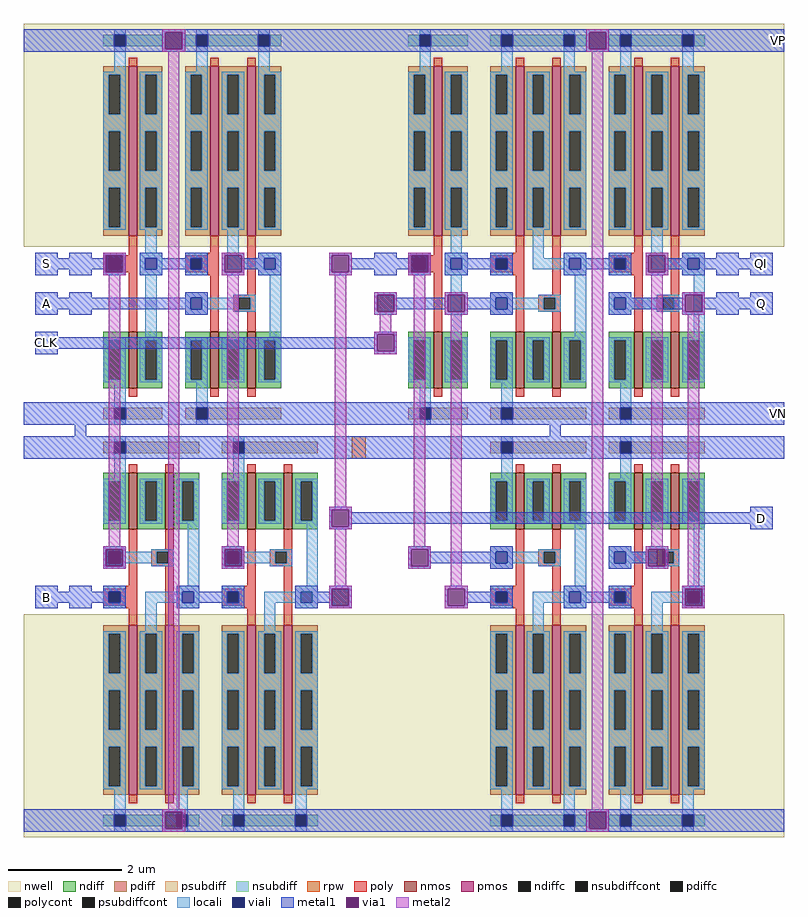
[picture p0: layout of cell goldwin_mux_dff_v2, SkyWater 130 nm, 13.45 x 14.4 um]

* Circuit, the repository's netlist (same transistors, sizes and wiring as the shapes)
* NGSPICE file created from goldwin_mux_dff_v2.ext - technology: sky130A

.subckt goldwin_nand_v2 A B Y VP VN
X0 Y B a_30_0# VN sky130_fd_pr__nfet_01v8 ad=0.45 pd=2.9 as=0.25 ps=1.5 w=1 l=0.15
X1 a_30_0# A VN VN sky130_fd_pr__nfet_01v8 ad=0.25 pd=1.5 as=0.45 ps=2.9 w=1 l=0.15
X2 Y A VP VP sky130_fd_pr__pfet_01v8 ad=0.75 pd=3.5 as=1.35 ps=6.9 w=3 l=0.15
X3 VP B Y VP sky130_fd_pr__pfet_01v8 ad=1.35 pd=6.9 as=0.75 ps=3.5 w=3 l=0.15
.ends

.subckt goldwin_not_v2 A Y VP VN
X0 Y A VN VN sky130_fd_pr__nfet_01v8 ad=0.45 pd=2.9 as=0.45 ps=2.9 w=1 l=0.15
X1 Y A VP VP sky130_fd_pr__pfet_01v8 ad=1.35 pd=6.9 as=1.35 ps=6.9 w=3 l=0.15
.ends

.subckt goldwin_mux_v2 A B S D VP VN
Xgoldwin_nand_v2_0 goldwin_nand_v2_3/Y goldwin_nand_v2_1/Y D VP VN goldwin_nand_v2
Xgoldwin_nand_v2_1 goldwin_not_v2_0/Y A goldwin_nand_v2_1/Y VP VN goldwin_nand_v2
Xgoldwin_nand_v2_3 B S goldwin_nand_v2_3/Y VP VN goldwin_nand_v2
Xgoldwin_not_v2_0 S goldwin_not_v2_0/Y VP VN goldwin_not_v2
.ends

.subckt goldwin_dff_v2 D CLK Q QI VP VN
Xgoldwin_nand_v2_0 goldwin_nand_v2_1/Y QI Q VP VN goldwin_nand_v2
Xgoldwin_nand_v2_1 CLK D goldwin_nand_v2_1/Y VP VN goldwin_nand_v2
Xgoldwin_nand_v2_2 goldwin_nand_v2_3/Y Q QI VP VN goldwin_nand_v2
Xgoldwin_nand_v2_3 goldwin_not_v2_0/Y CLK goldwin_nand_v2_3/Y VP VN goldwin_nand_v2
Xgoldwin_not_v2_0 D goldwin_not_v2_0/Y VP VN goldwin_not_v2
.ends

.subckt goldwin_mux_dff_v2 CLK A B S D Q QI VP VN
Xgoldwin_mux_v2_0 A B S D VP VN goldwin_mux_v2
Xgoldwin_dff_v2_0 D CLK Q QI VP VN goldwin_dff_v2
.ends

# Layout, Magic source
magic
tech sky130A
<< nwell >>
rect -60 1045 0 1440
rect 1225 1045 1285 1440
rect -60 0 0 395
rect 1225 0 1285 395
<< metal1 >>
rect -60 1390 0 1430
rect 1225 1390 1285 1430
rect -40 1025 0 1035
rect 480 1030 520 1035
rect -40 1005 20 1025
rect -40 995 0 1005
rect 480 1000 485 1030
rect 515 1025 520 1030
rect 1225 1025 1265 1035
rect 515 1005 560 1025
rect 1205 1005 1265 1025
rect 515 1000 520 1005
rect 480 995 520 1000
rect 1225 995 1265 1005
rect -40 955 0 965
rect -40 935 20 955
rect -40 925 0 935
rect 1225 955 1265 965
rect 1205 935 1265 955
rect 1225 925 1265 935
rect -40 885 0 895
rect 560 890 600 895
rect 560 885 565 890
rect -40 865 565 885
rect -40 855 0 865
rect 560 860 565 865
rect 595 860 600 890
rect 560 855 600 860
rect -60 730 0 770
rect 1225 730 1285 770
rect -60 670 0 710
rect 1225 670 1285 710
rect 480 580 520 585
rect 480 550 485 580
rect 515 575 520 580
rect 1225 575 1265 585
rect 515 555 1265 575
rect 515 550 520 555
rect 480 545 520 550
rect 1225 545 1265 555
rect -40 435 0 445
rect 480 440 520 445
rect -40 415 20 435
rect -40 405 0 415
rect 480 410 485 440
rect 515 410 520 440
rect 480 405 520 410
rect -60 10 0 50
rect 1225 10 1285 50
<< via1 >>
rect 485 1000 515 1030
rect 565 930 595 960
rect 565 860 595 890
rect 485 550 515 580
rect 485 410 515 440
<< metal2 >>
rect 480 1030 520 1035
rect 480 1000 485 1030
rect 515 1000 520 1030
rect 480 995 520 1000
rect 490 585 510 995
rect 560 960 600 965
rect 560 930 565 960
rect 595 930 600 960
rect 560 925 600 930
rect 570 895 590 925
rect 560 890 600 895
rect 560 860 565 890
rect 595 860 600 890
rect 560 855 600 860
rect 480 580 520 585
rect 480 550 485 580
rect 515 550 520 580
rect 480 545 520 550
rect 490 445 510 545
rect 480 440 520 445
rect 480 410 485 440
rect 515 410 520 440
rect 480 405 520 410
use goldwin_dff_v2  goldwin_dff_v2_0 ../goldwin_dff_v2
transform 1 0 600 0 1 735
box -60 -735 625 705
use goldwin_mux_v2  goldwin_mux_v2_0 ../goldwin_mux_v2
transform 1 0 60 0 1 730
box -60 -730 485 710
<< labels >>
flabel metal1 -40 995 0 1035 1 FreeSans 200 0 0 0 S
port 4 n
flabel metal1 -40 925 0 965 1 FreeSans 200 0 0 0 A
port 2 n
flabel metal1 -40 855 0 895 1 FreeSans 200 0 0 0 CLK
port 1 n
flabel metal1 -40 405 0 445 1 FreeSans 200 0 0 0 B
port 3 n
flabel metal1 1225 925 1265 965 1 FreeSans 200 0 0 0 Q
port 6 n
flabel metal1 1265 1390 1285 1430 1 FreeSans 200 0 0 0 VP
port 8 n
flabel metal1 1265 730 1285 770 1 FreeSans 200 0 0 0 VN
port 9 n
flabel metal1 1225 995 1265 1035 1 FreeSans 200 0 0 0 QI
port 7 n
flabel metal1 1225 545 1265 585 1 FreeSans 200 0 0 0 D
port 5 n
<< end >>

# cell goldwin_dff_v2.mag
magic
tech sky130A
<< nwell >>
rect -60 310 0 705
rect 565 310 625 705
rect -60 -735 145 -340
rect 565 -735 625 -340
<< metal1 >>
rect -60 655 0 695
rect 565 655 625 695
rect -40 290 0 300
rect 440 295 480 300
rect -40 270 20 290
rect -40 260 0 270
rect 125 270 165 290
rect 335 270 375 290
rect 440 265 445 295
rect 475 290 480 295
rect 565 290 605 300
rect 475 270 505 290
rect 545 270 605 290
rect 475 265 480 270
rect 440 260 480 265
rect 565 260 605 270
rect -40 220 0 230
rect 85 225 125 230
rect 85 220 90 225
rect -40 200 90 220
rect -40 190 0 200
rect 85 195 90 200
rect 120 220 125 225
rect 505 225 545 230
rect 505 220 510 225
rect 120 200 165 220
rect 415 200 510 220
rect 120 195 125 200
rect 85 190 125 195
rect 505 195 510 200
rect 540 220 545 225
rect 565 220 605 230
rect 540 200 605 220
rect 540 195 545 200
rect 505 190 545 195
rect 565 190 605 200
rect -60 -5 0 35
rect 270 -25 290 0
rect 565 -5 625 35
rect -60 -65 145 -25
rect 565 -65 625 -25
rect 20 -225 60 -220
rect 20 -255 25 -225
rect 55 -230 60 -225
rect 440 -225 480 -220
rect 440 -230 445 -225
rect 55 -250 165 -230
rect 415 -250 445 -230
rect 55 -255 60 -250
rect 20 -260 60 -255
rect 440 -255 445 -250
rect 475 -255 480 -225
rect 440 -260 480 -255
rect 85 -295 125 -290
rect 85 -325 90 -295
rect 120 -300 125 -295
rect 120 -320 165 -300
rect 335 -320 375 -300
rect 120 -325 125 -320
rect 85 -330 125 -325
rect -60 -725 145 -685
rect 565 -725 625 -685
<< via1 >>
rect 340 660 370 690
rect 25 265 55 295
rect 445 265 475 295
rect 90 195 120 225
rect 510 195 540 225
rect 25 -255 55 -225
rect 445 -255 475 -225
rect 90 -325 120 -295
rect 510 -325 540 -295
rect 340 -720 370 -690
<< metal2 >>
rect 335 690 375 695
rect 335 660 340 690
rect 370 660 375 690
rect 335 655 375 660
rect 20 295 60 300
rect 20 265 25 295
rect 55 265 60 295
rect 20 260 60 265
rect 30 -220 50 260
rect 85 225 125 230
rect 85 195 90 225
rect 120 195 125 225
rect 85 190 125 195
rect 20 -225 60 -220
rect 20 -255 25 -225
rect 55 -255 60 -225
rect 20 -260 60 -255
rect 95 -290 115 190
rect 85 -295 125 -290
rect 85 -325 90 -295
rect 120 -325 125 -295
rect 85 -330 125 -325
rect 345 -685 365 655
rect 440 295 480 300
rect 440 265 445 295
rect 475 265 480 295
rect 440 260 480 265
rect 450 -220 470 260
rect 505 225 545 230
rect 505 195 510 225
rect 540 195 545 225
rect 505 190 545 195
rect 440 -225 480 -220
rect 440 -255 445 -225
rect 475 -255 480 -225
rect 440 -260 480 -255
rect 515 -290 535 190
rect 505 -295 545 -290
rect 505 -325 510 -295
rect 540 -325 545 -295
rect 505 -330 545 -325
rect 335 -690 375 -685
rect 335 -720 340 -690
rect 370 -720 375 -690
rect 335 -725 375 -720
use goldwin_nand_v2  goldwin_nand_v2_0 ../goldwin_nand_v2
transform 1 0 420 0 -1 -90
box -65 -65 145 645
use goldwin_nand_v2  goldwin_nand_v2_1
transform 1 0 210 0 -1 -90
box -65 -65 145 645
use goldwin_nand_v2  goldwin_nand_v2_2
transform 1 0 420 0 1 60
box -65 -65 145 645
use goldwin_nand_v2  goldwin_nand_v2_3
transform 1 0 210 0 1 60
box -65 -65 145 645
use goldwin_not_v2  goldwin_not_v2_0 ../goldwin_not_v2
transform 1 0 65 0 1 60
box -65 -65 80 645
<< labels >>
flabel metal1 -40 260 0 300 1 FreeSans 200 0 0 0 D
port 1 n
flabel metal1 -40 190 0 230 1 FreeSans 200 0 0 0 CLK
port 2 n
flabel metal1 565 260 605 300 1 FreeSans 200 0 0 0 QI
port 4 n
flabel metal1 565 190 605 230 1 FreeSans 200 0 0 0 Q
port 3 n
flabel metal1 605 655 625 695 1 FreeSans 200 0 0 0 VP
port 5 n
flabel metal1 605 -5 625 35 1 FreeSans 200 0 0 0 VN
port 6 n
<< end >>

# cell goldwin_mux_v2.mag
magic
tech sky130A
<< nwell >>
rect -60 315 0 710
rect 355 315 485 710
rect -60 -730 0 -335
rect 420 -730 480 -335
<< rpw >>
rect 460 -60 485 -20
<< metal1 >>
rect -60 660 0 700
rect 355 660 485 700
rect -40 295 0 305
rect 230 300 270 305
rect -40 275 20 295
rect -40 265 0 275
rect 125 275 165 295
rect 230 270 235 300
rect 265 295 270 300
rect 265 275 295 295
rect 265 270 270 275
rect 230 265 270 270
rect -40 225 0 235
rect -40 205 165 225
rect -40 195 0 205
rect -60 0 0 40
rect 355 0 485 40
rect -30 -20 -10 0
rect -60 -60 0 -20
rect 420 -60 485 -20
rect -40 -295 0 -285
rect -40 -315 20 -295
rect 190 -315 230 -295
rect -40 -325 0 -315
rect 365 -320 395 -290
rect 420 -295 460 -285
rect 400 -315 460 -295
rect 420 -325 460 -315
rect -60 -720 0 -680
rect 420 -720 480 -680
<< via1 >>
rect 130 665 160 695
rect 25 270 55 300
rect 235 270 265 300
rect 25 -250 55 -220
rect 235 -250 265 -220
rect 130 -715 160 -685
<< metal2 >>
rect 125 695 165 700
rect 125 665 130 695
rect 160 665 165 695
rect 125 660 165 665
rect 20 300 60 305
rect 20 270 25 300
rect 55 270 60 300
rect 20 265 60 270
rect 30 -215 50 265
rect 20 -220 60 -215
rect 20 -250 25 -220
rect 55 -250 60 -220
rect 20 -255 60 -250
rect 135 -680 155 660
rect 230 300 270 305
rect 230 270 235 300
rect 265 270 270 300
rect 230 265 270 270
rect 240 -215 260 265
rect 230 -220 270 -215
rect 230 -250 235 -220
rect 265 -250 270 -220
rect 230 -255 270 -250
rect 125 -685 165 -680
rect 125 -715 130 -685
rect 160 -715 165 -685
rect 125 -720 165 -715
use goldwin_nand_v2  goldwin_nand_v2_0 ../goldwin_nand_v2
transform 1 0 275 0 -1 -85
box -65 -65 145 645
use goldwin_nand_v2  goldwin_nand_v2_1
transform 1 0 210 0 1 65
box -65 -65 145 645
use goldwin_nand_v2  goldwin_nand_v2_3
transform 1 0 65 0 -1 -85
box -65 -65 145 645
use goldwin_not_v2  goldwin_not_v2_0 ../goldwin_not_v2
transform 1 0 65 0 1 65
box -65 -65 80 645
<< labels >>
flabel metal1 -40 195 0 235 1 FreeSans 200 0 0 0 A
port 1 n
flabel metal1 -40 265 0 305 1 FreeSans 200 0 0 0 S
port 3 n
flabel metal1 -40 -325 0 -285 1 FreeSans 200 0 0 0 B
port 2 n
flabel metal1 420 -325 460 -285 1 FreeSans 200 0 0 0 D
port 4 n
flabel metal1 465 0 485 40 1 FreeSans 200 0 0 0 VN
port 6 n
flabel metal1 465 660 485 700 1 FreeSans 200 0 0 0 VP
port 5 n
<< end >>

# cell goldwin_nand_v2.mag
magic
tech sky130A
<< nwell >>
rect -65 250 145 645
<< nmos >>
rect 0 0 15 100
rect 65 0 80 100
<< pmos >>
rect 0 270 15 570
rect 65 270 80 570
<< ndiff >>
rect -45 85 0 100
rect -45 15 -35 85
rect -15 15 0 85
rect -45 0 0 15
rect 15 85 65 100
rect 15 15 30 85
rect 50 15 65 85
rect 15 0 65 15
rect 80 85 125 100
rect 80 15 95 85
rect 115 15 125 85
rect 80 0 125 15
<< pdiff >>
rect -45 555 0 570
rect -45 485 -35 555
rect -15 485 0 555
rect -45 455 0 485
rect -45 385 -35 455
rect -15 385 0 455
rect -45 355 0 385
rect -45 285 -35 355
rect -15 285 0 355
rect -45 270 0 285
rect 15 555 65 570
rect 15 485 30 555
rect 50 485 65 555
rect 15 455 65 485
rect 15 385 30 455
rect 50 385 65 455
rect 15 355 65 385
rect 15 285 30 355
rect 50 285 65 355
rect 15 270 65 285
rect 80 555 125 570
rect 80 485 95 555
rect 115 485 125 555
rect 80 455 125 485
rect 80 385 95 455
rect 115 385 125 455
rect 80 355 125 385
rect 80 285 95 355
rect 115 285 125 355
rect 80 270 125 285
<< ndiffc >>
rect -35 15 -15 85
rect 30 15 50 85
rect 95 15 115 85
<< pdiffc >>
rect -35 485 -15 555
rect -35 385 -15 455
rect -35 285 -15 355
rect 30 485 50 555
rect 30 385 50 455
rect 30 285 50 355
rect 95 485 115 555
rect 95 385 115 455
rect 95 285 115 355
<< psubdiff >>
rect -45 -55 -25 -35
rect -5 -55 125 -35
<< nsubdiff >>
rect -45 605 -25 625
rect -5 605 85 625
rect 105 605 125 625
<< psubdiffcont >>
rect -25 -55 -5 -35
<< nsubdiffcont >>
rect -25 605 -5 625
rect 85 605 105 625
<< poly >>
rect 0 570 15 585
rect 65 570 80 585
rect 0 240 15 270
rect -5 235 15 240
rect -45 230 15 235
rect -45 210 -35 230
rect -15 210 15 230
rect -45 205 15 210
rect -5 200 15 205
rect 0 100 15 200
rect 65 165 80 270
rect 40 160 80 165
rect 40 140 50 160
rect 70 140 80 160
rect 40 135 80 140
rect 65 100 80 135
rect 0 -15 15 0
rect 65 -15 80 0
<< polycont >>
rect -35 210 -15 230
rect 50 140 70 160
<< locali >>
rect -25 625 -5 635
rect -25 560 -5 605
rect 85 625 105 635
rect 85 560 105 605
rect -45 555 -5 560
rect -45 485 -35 555
rect -15 485 -5 555
rect -45 455 -5 485
rect -45 385 -35 455
rect -15 385 -5 455
rect -45 355 -5 385
rect -45 285 -35 355
rect -15 285 -5 355
rect -45 280 -5 285
rect 20 555 60 560
rect 20 485 30 555
rect 50 485 60 555
rect 20 455 60 485
rect 20 385 30 455
rect 50 385 60 455
rect 20 355 60 385
rect 20 285 30 355
rect 50 285 60 355
rect 20 280 60 285
rect 85 555 125 560
rect 85 485 95 555
rect 115 485 125 555
rect 85 455 125 485
rect 85 385 95 455
rect 115 385 125 455
rect 85 355 125 385
rect 85 285 95 355
rect 115 285 125 355
rect 85 280 125 285
rect -45 230 -5 240
rect -45 210 -35 230
rect -15 210 -5 230
rect 30 230 50 280
rect 85 230 125 240
rect 30 210 95 230
rect 115 210 125 230
rect -45 200 -5 210
rect 85 200 125 210
rect -45 160 -5 170
rect 40 160 80 165
rect -45 140 -35 160
rect -15 140 50 160
rect 70 140 80 160
rect -45 130 -5 140
rect 40 135 80 140
rect 105 90 125 200
rect -45 85 -5 90
rect -45 15 -35 85
rect -15 15 -5 85
rect -45 10 -5 15
rect 20 85 60 90
rect 20 15 30 85
rect 50 15 60 85
rect 20 10 60 15
rect 85 85 125 90
rect 85 15 95 85
rect 115 15 125 85
rect 85 10 125 15
rect -25 -35 -5 10
rect -25 -65 -5 -55
<< viali >>
rect -25 605 -5 625
rect 85 605 105 625
rect -35 210 -15 230
rect 95 210 115 230
rect -35 140 -15 160
rect -25 -55 -5 -35
<< metal1 >>
rect -65 625 145 635
rect -65 605 -25 625
rect -5 605 85 625
rect 105 605 145 625
rect -65 595 145 605
rect -45 230 -5 240
rect -45 210 -35 230
rect -15 210 -5 230
rect -45 200 -5 210
rect 85 230 125 240
rect 85 210 95 230
rect 115 210 125 230
rect 85 200 125 210
rect -45 160 -5 170
rect -45 140 -35 160
rect -15 140 -5 160
rect -45 130 -5 140
rect -65 -35 145 -25
rect -65 -55 -25 -35
rect -5 -55 145 -35
rect -65 -65 145 -55
<< labels >>
flabel metal1 125 595 145 625 1 FreeSans 200 0 0 -120 VP
port 4 n
flabel metal1 125 -55 145 -25 1 FreeSans 200 0 0 -120 VN
port 5 n
flabel metal1 85 200 125 240 1 FreeSans 200 0 0 -120 Y
port 3 n
flabel metal1 -45 200 -5 240 1 FreeSans 200 0 0 -120 A
port 1 n
flabel metal1 -45 130 -5 170 1 FreeSans 200 0 0 -120 B
port 2 n
<< end >>

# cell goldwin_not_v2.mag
magic
tech sky130A
<< nwell >>
rect -65 250 80 645
<< nmos >>
rect 0 0 15 100
<< pmos >>
rect 0 270 15 570
<< ndiff >>
rect -45 85 0 100
rect -45 15 -35 85
rect -15 15 0 85
rect -45 0 0 15
rect 15 85 60 100
rect 15 15 30 85
rect 50 15 60 85
rect 15 0 60 15
<< pdiff >>
rect -45 555 0 570
rect -45 485 -35 555
rect -15 485 0 555
rect -45 455 0 485
rect -45 385 -35 455
rect -15 385 0 455
rect -45 355 0 385
rect -45 285 -35 355
rect -15 285 0 355
rect -45 270 0 285
rect 15 555 60 570
rect 15 485 30 555
rect 50 485 60 555
rect 15 455 60 485
rect 15 385 30 455
rect 50 385 60 455
rect 15 355 60 385
rect 15 285 30 355
rect 50 285 60 355
rect 15 270 60 285
<< ndiffc >>
rect -35 15 -15 85
rect 30 15 50 85
<< pdiffc >>
rect -35 485 -15 555
rect -35 385 -15 455
rect -35 285 -15 355
rect 30 485 50 555
rect 30 385 50 455
rect 30 285 50 355
<< psubdiff >>
rect -45 -55 -25 -35
rect -5 -55 60 -35
<< nsubdiff >>
rect -45 605 -25 625
rect -5 605 60 625
<< psubdiffcont >>
rect -25 -55 -5 -35
<< nsubdiffcont >>
rect -25 605 -5 625
<< poly >>
rect 0 570 15 585
rect 0 235 15 270
rect -45 230 15 235
rect -45 210 -35 230
rect -15 210 15 230
rect -45 205 15 210
rect 0 100 15 205
rect 0 -15 15 0
<< polycont >>
rect -35 210 -15 230
<< locali >>
rect -25 625 -5 635
rect -25 560 -5 605
rect -45 555 -5 560
rect -45 485 -35 555
rect -15 485 -5 555
rect -45 455 -5 485
rect -45 385 -35 455
rect -15 385 -5 455
rect -45 355 -5 385
rect -45 285 -35 355
rect -15 285 -5 355
rect -45 280 -5 285
rect 20 555 60 560
rect 20 485 30 555
rect 50 485 60 555
rect 20 455 60 485
rect 20 385 30 455
rect 50 385 60 455
rect 20 355 60 385
rect 20 285 30 355
rect 50 285 60 355
rect 20 280 60 285
rect 30 240 50 280
rect -45 230 -5 240
rect -45 210 -35 230
rect -15 210 -5 230
rect -45 200 -5 210
rect 20 230 60 240
rect 20 210 30 230
rect 50 210 60 230
rect 20 200 60 210
rect 30 90 50 200
rect -45 85 -5 90
rect -45 15 -35 85
rect -15 15 -5 85
rect -45 10 -5 15
rect 20 85 60 90
rect 20 15 30 85
rect 50 15 60 85
rect 20 10 60 15
rect -25 -35 -5 10
rect -25 -65 -5 -55
<< viali >>
rect -25 605 -5 625
rect -35 210 -15 230
rect 30 210 50 230
rect -25 -55 -5 -35
<< metal1 >>
rect -65 625 80 635
rect -65 605 -25 625
rect -5 605 80 625
rect -65 595 80 605
rect -45 230 -5 240
rect -45 210 -35 230
rect -15 210 -5 230
rect -45 200 -5 210
rect 20 230 60 240
rect 20 210 30 230
rect 50 210 60 230
rect 20 200 60 210
rect -65 -35 80 -25
rect -65 -55 -25 -35
rect -5 -55 80 -35
rect -65 -65 80 -55
<< labels >>
flabel metal1 60 -65 80 -25 1 FreeSans 200 0 0 0 VN
port 4 n
flabel metal1 60 595 80 635 1 FreeSans 200 0 0 0 VP
port 3 n
flabel metal1 20 200 60 240 1 FreeSans 200 0 0 -120 Y
port 2 n
flabel metal1 -45 200 -5 240 1 FreeSans 200 0 0 -120 A
port 1 n
<< end >>
